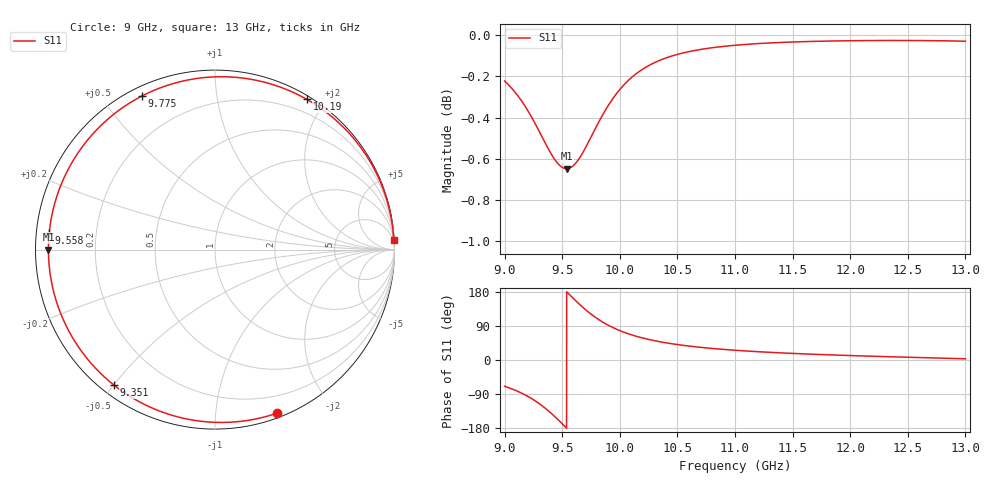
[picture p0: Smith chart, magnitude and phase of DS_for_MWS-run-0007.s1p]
! TOUCHSTONE file generated by CST DESIGN STUDIO
! Date and time: Tue Feb  4 12:53:55 2025
! Project name: C:\Work\MatlabApps\UnitCellOptimizationMatlab\CST\unitcell.cst
! Tree item: Tasks\Sweep1\SPara1\S-Parameters
! Header version: 2024
! Port assignment regex: !\s*Touchstone port\s*([0-9]+)\s*=\s*(CST MWS port|CST DES external port|CST DES block port)\s*(.+)\s* \(\"(.*)\"\)(\s*mode\s*([0-9]+))?.*
! Touchstone port assignment:
! Touchstone port 1 = CST DES external port 1 ("")
# GHz S MA R 50
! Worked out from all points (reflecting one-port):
!   4001 points, 9 GHz to 13 GHz, reference 50 ohm
!   lowest |S11| = -0.6 dB at 9.539 GHz (marker M1), VSWR 26.82, Z = 1.86 + j0.0112 ohm
!   phase of S11 starts at -69 deg and turns -288 deg over the sweep
!   S11 on the Smith chart (normalised r, x): 9 GHz: 0.04, -1.45; 9.351 GHz: 0.04, -0.50; 9.558 GHz: 0.04, +0.05; 9.775 GHz: 0.04, +0.63; 10.19 GHz: 0.04, +1.78; 13 GHz: 2, +36
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9  0.9748 -69.3
9.099  0.968 -80.7
9.208  0.9581 -97.1
9.283  0.9497 -111.4
9.351  0.9417 -126.8
9.422  0.9341 -145.4
9.463  0.9307 -157.1
9.5  0.9288 -168.2
9.539  0.9281 180.0
9.558  0.9283 174.2
9.612  0.9306 157.9
9.672  0.9358 140.9
9.723  0.9414 127.6
9.775  0.9476 115.4
9.822  0.9532 105.6
9.874  0.9589 96.0
9.937  0.965 86.0
10  0.9701 77.5
10.092  0.9761 67.4
10.192  0.981 58.6
10.333  0.9857 49.0
10.5  0.9894 40.7
10.721  0.9923 32.8
11  0.9945 25.7
11.5  0.9963 17.4
12  0.997 11.7
12.5  0.9971 7.3
13  0.9967 3.2
